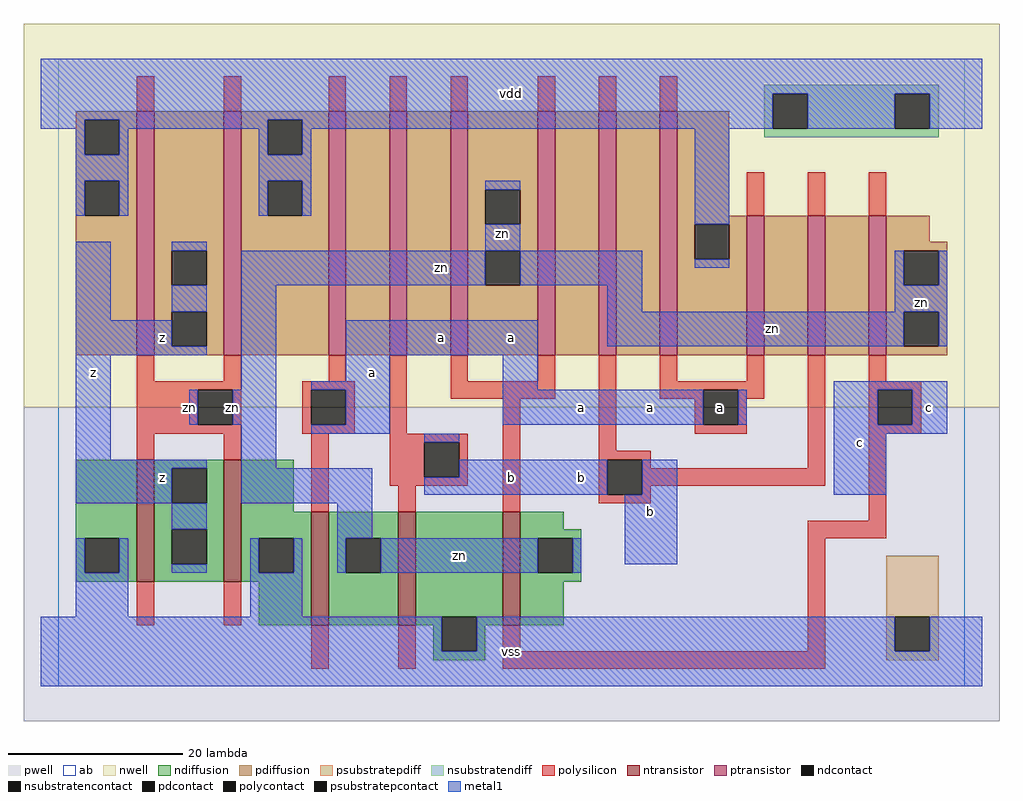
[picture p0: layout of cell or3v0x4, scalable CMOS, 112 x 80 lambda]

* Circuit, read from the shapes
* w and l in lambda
.subckt or3v0x4 a b c vdd vss z zn
M1 z zn vss vss nfet w=14 l=2 m=2
M2 zn a vss vss nfet w=13 l=2
M3 vss b zn vss nfet w=13 l=2
M4 zn c vss vss nfet w=13 l=2
M5 z zn vdd vdd pfet w=28 l=2 m=2
M6 n1 a vdd vdd pfet w=28 l=2
M7 n2 b n1 vdd pfet w=28 l=2
M8 zn c n2 vdd pfet w=28 l=2
M9 n3 c zn vdd pfet w=28 l=2
M10 n4 b n3 vdd pfet w=28 l=2
M11 vdd a n4 vdd pfet w=28 l=2
M12 n5 a vdd vdd pfet w=16 l=2
M13 n6 b n5 vdd pfet w=16 l=2
M14 zn c n6 vdd pfet w=16 l=2
.ends

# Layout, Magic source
magic
tech scmos
<< ab >>
rect 0 0 104 72
<< pwell >>
rect -4 -4 108 32
<< nwell >>
rect -4 32 108 76
<< polysilicon >>
rect 9 66 11 70
rect 19 66 21 70
rect 31 66 33 70
rect 38 66 40 70
rect 45 66 47 70
rect 55 66 57 70
rect 62 66 64 70
rect 69 66 71 70
rect 79 54 81 59
rect 86 54 88 59
rect 93 54 95 59
rect 9 35 11 38
rect 19 35 21 38
rect 31 35 33 38
rect 9 34 21 35
rect 9 30 16 34
rect 20 30 21 34
rect 9 29 21 30
rect 28 34 34 35
rect 28 30 29 34
rect 33 30 34 34
rect 28 29 34 30
rect 38 29 40 38
rect 45 35 47 38
rect 55 35 57 38
rect 45 33 57 35
rect 9 26 11 29
rect 19 26 21 29
rect 29 20 31 29
rect 38 28 47 29
rect 38 24 42 28
rect 46 24 47 28
rect 38 23 47 24
rect 39 20 41 23
rect 51 20 53 33
rect 62 27 64 38
rect 69 35 71 38
rect 79 35 81 38
rect 69 34 81 35
rect 69 33 74 34
rect 73 30 74 33
rect 78 33 81 34
rect 78 30 79 33
rect 73 29 79 30
rect 62 26 68 27
rect 62 22 63 26
rect 67 25 68 26
rect 86 25 88 38
rect 67 23 88 25
rect 93 35 95 38
rect 93 34 99 35
rect 93 30 94 34
rect 98 30 99 34
rect 93 29 99 30
rect 67 22 68 23
rect 62 21 68 22
rect 9 7 11 12
rect 19 7 21 12
rect 29 2 31 7
rect 39 2 41 7
rect 93 19 95 29
rect 86 17 95 19
rect 51 4 53 7
rect 86 4 88 17
rect 51 2 88 4
<< ndiffusion >>
rect 2 17 9 26
rect 2 13 3 17
rect 7 13 9 17
rect 2 12 9 13
rect 11 25 19 26
rect 11 21 13 25
rect 17 21 19 25
rect 11 18 19 21
rect 11 14 13 18
rect 17 14 19 18
rect 11 12 19 14
rect 21 20 27 26
rect 21 17 29 20
rect 21 13 23 17
rect 27 13 29 17
rect 21 12 29 13
rect 23 7 29 12
rect 31 17 39 20
rect 31 13 33 17
rect 37 13 39 17
rect 31 7 39 13
rect 41 8 51 20
rect 41 7 44 8
rect 43 4 44 7
rect 48 7 51 8
rect 53 18 58 20
rect 53 17 60 18
rect 53 13 55 17
rect 59 13 60 17
rect 53 12 60 13
rect 53 7 58 12
rect 48 4 49 7
rect 43 3 49 4
<< pdiffusion >>
rect 2 65 9 66
rect 2 61 3 65
rect 7 61 9 65
rect 2 58 9 61
rect 2 54 3 58
rect 7 54 9 58
rect 2 38 9 54
rect 11 50 19 66
rect 11 46 13 50
rect 17 46 19 50
rect 11 43 19 46
rect 11 39 13 43
rect 17 39 19 43
rect 11 38 19 39
rect 21 65 31 66
rect 21 61 24 65
rect 28 61 31 65
rect 21 58 31 61
rect 21 54 24 58
rect 28 54 31 58
rect 21 38 31 54
rect 33 38 38 66
rect 40 38 45 66
rect 47 57 55 66
rect 47 53 49 57
rect 53 53 55 57
rect 47 50 55 53
rect 47 46 49 50
rect 53 46 55 50
rect 47 38 55 46
rect 57 38 62 66
rect 64 38 69 66
rect 71 54 77 66
rect 71 53 79 54
rect 71 49 73 53
rect 77 49 79 53
rect 71 38 79 49
rect 81 38 86 54
rect 88 38 93 54
rect 95 51 100 54
rect 95 50 102 51
rect 95 46 97 50
rect 101 46 102 50
rect 95 43 102 46
rect 95 39 97 43
rect 101 39 102 43
rect 95 38 102 39
<< metal1 >>
rect -2 68 106 72
rect -2 65 82 68
rect -2 64 3 65
rect 2 61 3 64
rect 7 64 24 65
rect 7 61 8 64
rect 2 58 8 61
rect 2 54 3 58
rect 7 54 8 58
rect 23 61 24 64
rect 28 64 82 65
rect 86 64 96 68
rect 100 64 106 68
rect 28 61 29 64
rect 23 58 29 61
rect 23 54 24 58
rect 28 54 29 58
rect 49 57 53 58
rect 2 42 6 51
rect 13 50 17 51
rect 49 50 53 53
rect 73 53 77 64
rect 13 43 17 46
rect 2 39 13 42
rect 2 38 17 39
rect 21 46 49 50
rect 53 46 67 50
rect 73 48 77 49
rect 2 26 6 38
rect 21 34 25 46
rect 63 43 67 46
rect 96 46 97 50
rect 101 46 102 50
rect 96 43 102 46
rect 33 38 55 42
rect 63 39 97 43
rect 101 39 102 43
rect 33 35 38 38
rect 15 30 16 34
rect 20 30 25 34
rect 2 25 17 26
rect 2 21 13 25
rect 21 25 25 30
rect 29 34 38 35
rect 33 30 38 34
rect 51 34 55 38
rect 89 34 102 35
rect 51 30 74 34
rect 78 30 79 34
rect 89 30 94 34
rect 98 30 102 34
rect 29 29 38 30
rect 89 29 102 30
rect 42 28 46 29
rect 21 21 36 25
rect 46 24 63 26
rect 42 22 63 24
rect 67 22 71 26
rect 89 22 95 29
rect 13 18 17 21
rect 2 13 3 17
rect 7 13 8 17
rect 32 17 36 21
rect 13 13 17 14
rect 22 13 23 17
rect 27 13 28 17
rect 32 13 33 17
rect 37 13 55 17
rect 59 13 60 17
rect 65 14 71 22
rect 2 8 8 13
rect 22 8 28 13
rect -2 4 44 8
rect 48 4 96 8
rect 100 4 106 8
rect -2 0 106 4
<< ntransistor >>
rect 9 12 11 26
rect 19 12 21 26
rect 29 7 31 20
rect 39 7 41 20
rect 51 7 53 20
<< ptransistor >>
rect 9 38 11 66
rect 19 38 21 66
rect 31 38 33 66
rect 38 38 40 66
rect 45 38 47 66
rect 55 38 57 66
rect 62 38 64 66
rect 69 38 71 66
rect 79 38 81 54
rect 86 38 88 54
rect 93 38 95 54
<< polycontact >>
rect 16 30 20 34
rect 29 30 33 34
rect 42 24 46 28
rect 74 30 78 34
rect 63 22 67 26
rect 94 30 98 34
<< ndcontact >>
rect 3 13 7 17
rect 13 21 17 25
rect 13 14 17 18
rect 23 13 27 17
rect 33 13 37 17
rect 44 4 48 8
rect 55 13 59 17
<< pdcontact >>
rect 3 61 7 65
rect 3 54 7 58
rect 13 46 17 50
rect 13 39 17 43
rect 24 61 28 65
rect 24 54 28 58
rect 49 53 53 57
rect 49 46 53 50
rect 73 49 77 53
rect 97 46 101 50
rect 97 39 101 43
<< psubstratepcontact >>
rect 96 4 100 8
<< nsubstratencontact >>
rect 82 64 86 68
rect 96 64 100 68
<< psubstratepdiff >>
rect 95 8 101 15
rect 95 4 96 8
rect 100 4 101 8
rect 95 3 101 4
<< nsubstratendiff >>
rect 81 68 101 69
rect 81 64 82 68
rect 86 64 96 68
rect 100 64 101 68
rect 81 63 101 64
<< labels >>
rlabel polysilicon 15 32 15 32 6 zn
rlabel metal1 12 24 12 24 6 z
rlabel metal1 4 36 4 36 6 z
rlabel metal1 12 40 12 40 6 z
rlabel metal1 20 32 20 32 6 zn
rlabel metal1 36 36 36 36 6 a
rlabel metal1 52 4 52 4 6 vss
rlabel metal1 46 15 46 15 6 zn
rlabel metal1 52 24 52 24 6 b
rlabel metal1 60 24 60 24 6 b
rlabel metal1 60 32 60 32 6 a
rlabel metal1 44 40 44 40 6 a
rlabel metal1 52 40 52 40 6 a
rlabel metal1 51 52 51 52 6 zn
rlabel metal1 52 68 52 68 6 vdd
rlabel metal1 68 20 68 20 6 b
rlabel metal1 68 32 68 32 6 a
rlabel polycontact 76 32 76 32 6 a
rlabel metal1 44 48 44 48 6 zn
rlabel metal1 100 32 100 32 6 c
rlabel metal1 92 28 92 28 6 c
rlabel metal1 99 44 99 44 6 zn
rlabel metal1 82 41 82 41 6 zn
<< end >>
